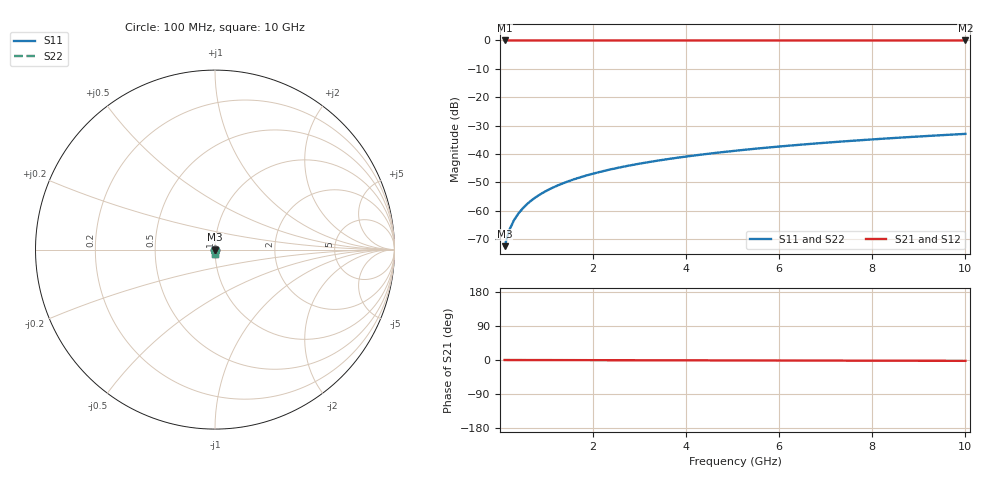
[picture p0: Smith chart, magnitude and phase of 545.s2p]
# Hz S RI R 50.00
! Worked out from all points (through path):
!   100 points, 100 MHz to 10 GHz, reference 50 ohm
!   highest |S21| = 0.00 dB at 100 MHz (marker M1); lowest = 0.0 dB at 10 GHz (marker M2)
!   lowest |S11| = -72.4 dB at 100 MHz (marker M3), VSWR 1.00, Z = 50 - j0.0226 ohm
!   |S11| at or under -10 dB: start of sweep to end of sweep
!   |S22| runs from -72.4 to -32.9 dB; largest |S21 - S12| = 0
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1e8  7.84e-05 -0.000226  0.9999 -0.000388  0.9999 -0.000388  7.84e-05 -0.000226
2e8  7.84e-05 -0.000451  0.9999 -0.000776  0.9999 -0.000776  7.84e-05 -0.000451
3e8  7.8e-05 -0.000677  0.9999 -0.00116  0.9999 -0.00116  7.8e-05 -0.000677
4e8  7.74e-05 -0.000903  0.9999 -0.00155  0.9999 -0.00155  7.74e-05 -0.000903
5e8  7.66e-05 -0.00113  0.9999 -0.00194  0.9999 -0.00194  7.66e-05 -0.00113
6e8  7.56e-05 -0.00135  0.9999 -0.00233  0.9999 -0.00233  7.56e-05 -0.00135
7e8  7.44e-05 -0.00158  0.9999 -0.00272  0.9999 -0.00272  7.44e-05 -0.00158
8e8  7.3e-05 -0.00181  0.9999 -0.00311  0.9999 -0.00311  7.3e-05 -0.00181
9e8  7.14e-05 -0.00203  0.9999 -0.00349  0.9999 -0.00349  7.14e-05 -0.00203
1.1e9  6.77e-05 -0.00248  0.9999 -0.00427  0.9999 -0.00427  6.77e-05 -0.00248
1.4e9  6.07e-05 -0.00316  0.9999 -0.00544  0.9999 -0.00544  6.07e-05 -0.00316
1.8e9  4.89e-05 -0.00406  0.9999 -0.00699  0.9999 -0.00699  4.89e-05 -0.00406
2.1e9  3.81e-05 -0.00474  0.9999 -0.00815  0.9999 -0.00815  3.81e-05 -0.00474
2.5e9  2.13e-05 -0.00564  0.9998 -0.00971  0.9998 -0.00971  2.13e-05 -0.00564
2.9e9  1.64e-06 -0.00655  0.9998 -0.0113  0.9998 -0.0113  1.64e-06 -0.00655
3.4e9  -2.69e-05 -0.00768  0.9998 -0.0132  0.9998 -0.0132  -2.69e-05 -0.00768
4.2e9  -8.19e-05 -0.00949  0.9997 -0.0163  0.9997 -0.0163  -8.19e-05 -0.00949
5.1e9  -0.000157 -0.0115  0.9996 -0.0198  0.9996 -0.0198  -0.000157 -0.0115
5.9e9  -0.000236 -0.0133  0.9995 -0.0229  0.9995 -0.0229  -0.000236 -0.0133
6.7e9  -0.000327 -0.0152  0.9994 -0.0261  0.9994 -0.0261  -0.000327 -0.0152
8.4e9  -0.000557 -0.019  0.9992 -0.0327  0.9992 -0.0327  -0.000557 -0.019
1e10  -0.00082 -0.0226  0.9989 -0.0389  0.9989 -0.0389  -0.00082 -0.0226
